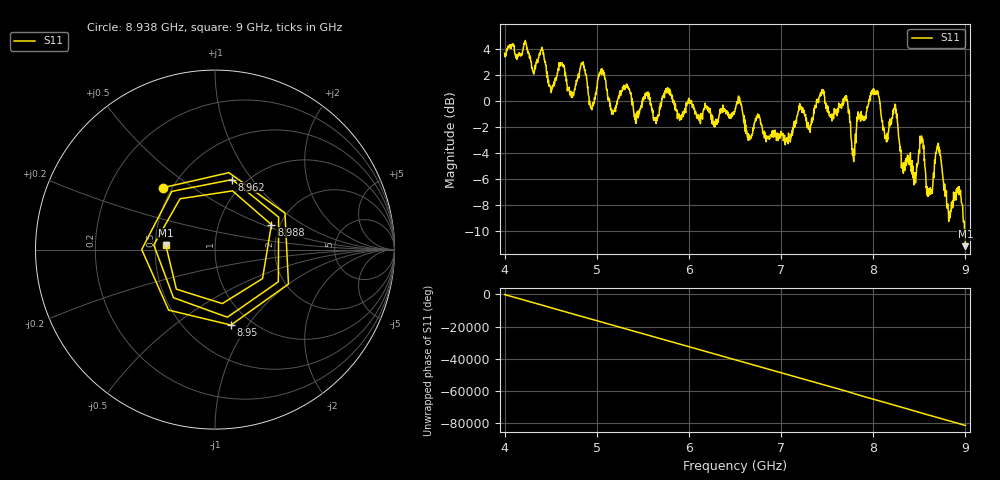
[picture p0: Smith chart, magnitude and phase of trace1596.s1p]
! Created with skrf 1.8.0 (http://scikit-rf.org).
# Hz S RI R 50.0
!freq ReS11 ImS11
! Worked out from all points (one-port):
!   1601 points, 4 GHz to 9 GHz, reference 50 ohm
!   lowest |S11| = -11.2 dB at 9 GHz (marker M1), VSWR 1.76, Z = 28.4 + j1.57 ohm
!   |S11| at or under -10 dB: 8.990429 GHz to end of sweep
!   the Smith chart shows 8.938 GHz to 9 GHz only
!   S11 on the Smith chart (normalised r, x): 8.938 GHz: 0.45, +0.39; 8.95 GHz: 0.81, -0.84; 8.962 GHz: 0.87, +0.80; 8.988 GHz: 1.80, +0.57; 9 GHz: 0.57, +0.03
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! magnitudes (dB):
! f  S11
! 4 GHz  3.7
! 4.403 GHz  4.1
! 4.506 GHz  0.6
! 4.625 GHz  2.9
! 4.731 GHz  0.3
! 4.85 GHz  2.9
! 4.944 GHz  -0.6
! 5.047 GHz  2.4
! 5.166 GHz  -0.7
! 5.25 GHz  0.7
! 5.875 GHz  -1.4
! 6.5 GHz  -0.8
! 7.125 GHz  -2.5
! 7.444 GHz  0.9
! 7.75 GHz  -1.7
! 7.788 GHz  -4.7
! 8.028 GHz  0.6
! 8.375 GHz  -4.5
! 8.459 GHz  -6.3
! 8.525 GHz  -2.7
! 8.612 GHz  -7.1
! 8.703 GHz  -3.6
! 8.822 GHz  -8.9
! 8.938 GHz  -6.9
! 8.95 GHz  -7.3
! 8.962 GHz  -7.9
! 8.988 GHz  -9.3
! 9 GHz  -11.2
